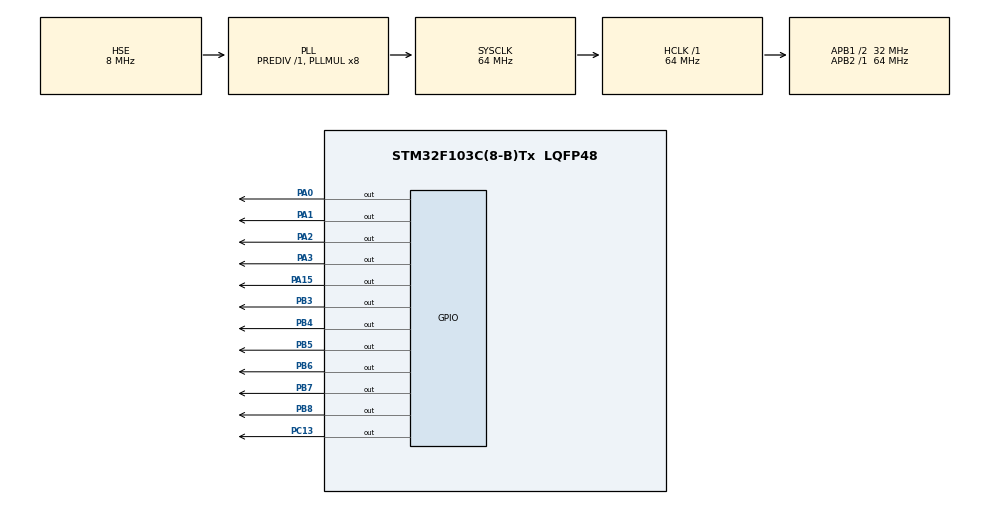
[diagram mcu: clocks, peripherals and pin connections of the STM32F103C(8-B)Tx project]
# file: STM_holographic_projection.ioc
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Mcu.Family=STM32F1
Mcu.Name=STM32F103C(8-B)Tx
Mcu.Package=LQFP48
NVIC.PriorityGroup=NVIC_PRIORITYGROUP_4
PA0-WKUP.Signal=GPIO_Output
PA1.Signal=GPIO_Output
PA13.Mode=Serial_Wire
PA13.Signal=SYS_JTMS-SWDIO
PA14.Mode=Serial_Wire
PA14.Signal=SYS_JTCK-SWCLK
PA15.Signal=GPIO_Output
PA2.Signal=GPIO_Output
PA3.Signal=GPIO_Output
PB3.Signal=GPIO_Output
PB4.Signal=GPIO_Output
PB5.Signal=GPIO_Output
PB6.Signal=GPIO_Output
PB7.Signal=GPIO_Output
PB8.Signal=GPIO_Output
PC13-TAMPER-RTC.Signal=GPIO_Output
PD0-OSC_IN.Mode=HSE-External-Oscillator
PD0-OSC_IN.Signal=RCC_OSC_IN
PD1-OSC_OUT.Mode=HSE-External-Oscillator
PD1-OSC_OUT.Signal=RCC_OSC_OUT
ProjectManager.HeapSize=0x200
ProjectManager.StackSize=0x400
ProjectManager.TargetToolchain=STM32CubeIDE
RCC.AHBFreq_Value=64000000
RCC.APB1CLKDivider=RCC_HCLK_DIV2
RCC.APB1Freq_Value=32000000
RCC.APB1TimFreq_Value=64000000
RCC.APB2Freq_Value=64000000
RCC.APB2TimFreq_Value=64000000
RCC.HCLKFreq_Value=64000000
RCC.PLLMUL=RCC_PLL_MUL8
RCC.PLLSourceVirtual=RCC_PLLSOURCE_HSE
RCC.SYSCLKFreq_VALUE=64000000
RCC.SYSCLKSource=RCC_SYSCLKSOURCE_PLLCLK
RCC.USBFreq_Value=64000000
VP_TIM1_VS_ClockSourceINT.Mode=Internal
board=custom

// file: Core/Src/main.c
/* USER CODE BEGIN Header */
/**
  ******************************************************************************
  * @file           : main.c
  * @brief          : Main program body
  ******************************************************************************
  * @attention
  *
  * Copyright (c) 2024 STMicroelectronics.
  * All rights reserved.
  *
  * This software is licensed under terms that can be found in the LICENSE file
  * in the root directory of this software component.
  * If no LICENSE file comes with this software, it is provided AS-IS.
  *
  ******************************************************************************
  */
/* USER CODE END Header */
#include "main.h"

/* USER CODE BEGIN PD */
// 2*47R widerstannd
#define NUM_LEDS 8
#define ROTATION 400
#define A0 GPIO_PIN_0
#define A1 GPIO_PIN_1
#define A2 GPIO_PIN_2
#define A3 GPIO_PIN_3
#define HIGH 1
#define LOW 0
#define GPIO_A 0x40010800
#define GPIO_C 0x40011000
#define TIMER_1 = 0x40012C00
#define REG(X) (*((volatile uint32_t *) X ))
#define RPM 400

/* USER CODE END PD */

TIM_HandleTypeDef htim1;

void SystemClock_Config(void);
static void MX_GPIO_Init(void);
static void MX_TIM1_Init(void);

int main(void)
{

  /* MCU Configuration--------------------------------------------------------*/

  /* Reset of all peripherals, Initializes the Flash interface and the Systick. */
  HAL_Init();

  /* Configure the system clock */
  SystemClock_Config();

  /* Initialize all configured peripherals */
  MX_GPIO_Init();
  MX_TIM1_Init();
  /* USER CODE BEGIN 2 */

  //############ TIMER BEGIN ##################
  REG( TIMER_1 ) |= 0x18; // TIM1_CR1_DIR 8
  while (!(REG(( TIMER_1 +0x10)) &1)); //Wait till flag is raised
  REG((TIMER_1 + 0x24)) = 1* ; // set to update every second

  //TIM_CR1_DIR |= 1;
  // ############### TIMER END #######################

  //HAL_GPIO_WritePin(GPIOA, GPIO_Pin, 1);
  //0c0C
  char RPM = 400; //400 RPM

  REG(GPIO_A + 0xC) = 7;

  int i = 0;
  REG( (GPIO_A))=0x1010; // output, all other ports floating
  REG( (GPIO_A+0xC)) = 8; // set p1 high, 0 low
  // floating zustand durch setzen des GPIO auf input

  /* USER CODE END 2 */

  /* Infinite loop */
  while (1)
  {

  }
}

void SystemClock_Config(void)
{
  RCC_OscInitTypeDef RCC_OscInitStruct = {0};
  RCC_ClkInitTypeDef RCC_ClkInitStruct = {0};

  /** Initializes the RCC Oscillators according to the specified parameters
  * in the RCC_OscInitTypeDef structure.
  */
  RCC_OscInitStruct.OscillatorType = RCC_OSCILLATORTYPE_HSE;
  RCC_OscInitStruct.HSEState = RCC_HSE_ON;
  RCC_OscInitStruct.HSEPredivValue = RCC_HSE_PREDIV_DIV1;
  RCC_OscInitStruct.HSIState = RCC_HSI_ON;
  RCC_OscInitStruct.PLL.PLLState = RCC_PLL_ON;
  RCC_OscInitStruct.PLL.PLLSource = RCC_PLLSOURCE_HSE;
  RCC_OscInitStruct.PLL.PLLMUL = RCC_PLL_MUL8;
  if (HAL_RCC_OscConfig(&RCC_OscInitStruct) != HAL_OK)
  {
    Error_Handler();
  }

  /** Initializes the CPU, AHB and APB buses clocks
  */
  RCC_ClkInitStruct.ClockType = RCC_CLOCKTYPE_HCLK|RCC_CLOCKTYPE_SYSCLK
                              |RCC_CLOCKTYPE_PCLK1|RCC_CLOCKTYPE_PCLK2;
  RCC_ClkInitStruct.SYSCLKSource = RCC_SYSCLKSOURCE_PLLCLK;
  RCC_ClkInitStruct.AHBCLKDivider = RCC_SYSCLK_DIV1;
  RCC_ClkInitStruct.APB1CLKDivider = RCC_HCLK_DIV2;
  RCC_ClkInitStruct.APB2CLKDivider = RCC_HCLK_DIV1;

  if (HAL_RCC_ClockConfig(&RCC_ClkInitStruct, FLASH_LATENCY_2) != HAL_OK)
  {
    Error_Handler();
  }
}

static void MX_TIM1_Init(void)
{

  TIM_ClockConfigTypeDef sClockSourceConfig = {0};
  TIM_MasterConfigTypeDef sMasterConfig = {0};

  htim1.Instance = TIM1;
  htim1.Init.Prescaler = 0;
  htim1.Init.CounterMode = TIM_COUNTERMODE_UP;
  htim1.Init.Period = 65535;
  htim1.Init.ClockDivision = TIM_CLOCKDIVISION_DIV1;
  htim1.Init.RepetitionCounter = 0;
  htim1.Init.AutoReloadPreload = TIM_AUTORELOAD_PRELOAD_DISABLE;
  if (HAL_TIM_Base_Init(&htim1) != HAL_OK)
  {
    Error_Handler();
  }
  sClockSourceConfig.ClockSource = TIM_CLOCKSOURCE_INTERNAL;
  if (HAL_TIM_ConfigClockSource(&htim1, &sClockSourceConfig) != HAL_OK)
  {
    Error_Handler();
  }
  sMasterConfig.MasterOutputTrigger = TIM_TRGO_RESET;
  sMasterConfig.MasterSlaveMode = TIM_MASTERSLAVEMODE_DISABLE;
  if (HAL_TIMEx_MasterConfigSynchronization(&htim1, &sMasterConfig) != HAL_OK)
  {
    Error_Handler();
  }

}

static void MX_GPIO_Init(void)
{
  GPIO_InitTypeDef GPIO_InitStruct = {0};

  /* GPIO Ports Clock Enable */
  __HAL_RCC_GPIOC_CLK_ENABLE();
  __HAL_RCC_GPIOD_CLK_ENABLE();
  __HAL_RCC_GPIOA_CLK_ENABLE();
  __HAL_RCC_GPIOB_CLK_ENABLE();

  /*Configure GPIO pin Output Level */
  HAL_GPIO_WritePin(GPIOC, GPIO_PIN_13, GPIO_PIN_RESET);

  /*Configure GPIO pin Output Level */
  HAL_GPIO_WritePin(GPIOA, GPIO_PIN_0|GPIO_PIN_1|GPIO_PIN_2|GPIO_PIN_3
                          |GPIO_PIN_15, GPIO_PIN_RESET);

  /*Configure GPIO pin Output Level */
  HAL_GPIO_WritePin(GPIOB, GPIO_PIN_3|GPIO_PIN_4|GPIO_PIN_5|GPIO_PIN_6
                          |GPIO_PIN_7|GPIO_PIN_8, GPIO_PIN_RESET);

  /*Configure GPIO pin : PC13 */
  GPIO_InitStruct.Pin = GPIO_PIN_13;
  GPIO_InitStruct.Mode = GPIO_MODE_OUTPUT_PP;
  GPIO_InitStruct.Pull = GPIO_NOPULL;
  GPIO_InitStruct.Speed = GPIO_SPEED_FREQ_LOW;
  HAL_GPIO_Init(GPIOC, &GPIO_InitStruct);

  /*Configure GPIO pins : PA0 PA1 PA2 PA3
                           PA15 */
  GPIO_InitStruct.Pin = GPIO_PIN_0|GPIO_PIN_1|GPIO_PIN_2|GPIO_PIN_3
                          |GPIO_PIN_15;
  GPIO_InitStruct.Mode = GPIO_MODE_OUTPUT_PP;
  GPIO_InitStruct.Pull = GPIO_NOPULL;
  GPIO_InitStruct.Speed = GPIO_SPEED_FREQ_LOW;
  HAL_GPIO_Init(GPIOA, &GPIO_InitStruct);

  /*Configure GPIO pins : PB3 PB4 PB5 PB6
                           PB7 PB8 */
  GPIO_InitStruct.Pin = GPIO_PIN_3|GPIO_PIN_4|GPIO_PIN_5|GPIO_PIN_6
                          |GPIO_PIN_7|GPIO_PIN_8;
  GPIO_InitStruct.Mode = GPIO_MODE_OUTPUT_PP;
  GPIO_InitStruct.Pull = GPIO_NOPULL;
  GPIO_InitStruct.Speed = GPIO_SPEED_FREQ_LOW;
  HAL_GPIO_Init(GPIOB, &GPIO_InitStruct);

}

void Error_Handler(void)
{
  __disable_irq();
  while (1)
  {
  }
}
